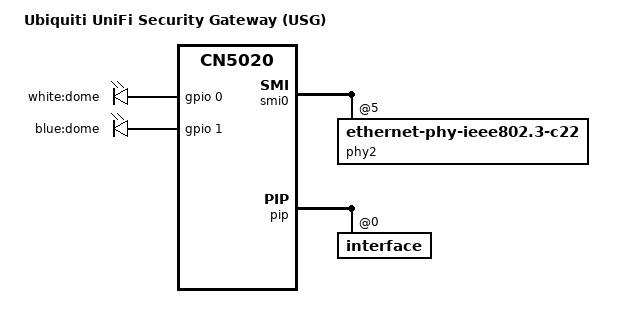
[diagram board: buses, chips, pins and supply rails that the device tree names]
// SPDX-License-Identifier: GPL-2.0-only
/*
 * Device tree source for Ubiquiti UniFi Security Gateway.
 *
 * Written for EdgeRouter Lite by: Aaro Koskinen <aaro.koskinen@iki.fi>
 * Adapted for USG by: Clemens Hopfer <openwrt@wireloss.net>
 */

#include "cn5020_ubnt_e100.dtsi"
#include <dt-bindings/gpio/gpio.h>

/ {
	/* E150 */
	compatible = "ubnt,usg", "ubnt,e100", "cavium,cn5020";
	model = "Ubiquiti UniFi Security Gateway (USG)";

	aliases {
		led-boot = &led_dome_white;
		led-failsafe = &led_dome_blue;
		led-running = &led_dome_blue;
		led-upgrade = &led_dome_blue;
	};

	leds {
		compatible = "gpio-leds";

		led_dome_white: led-0 {
			label = "white:dome";
			gpios = <&gpio 0 GPIO_ACTIVE_HIGH>;
		};

		led_dome_blue: led-1 {
			label = "blue:dome";
			gpios = <&gpio 1 GPIO_ACTIVE_HIGH>;
		};
	};
};

&smi0 {
	phy2: ethernet-phy@5 {
		reg = <5>;
		compatible = "ethernet-phy-ieee802.3-c22";
	};
};

&eth0 {
	label = "eth0";
};

&eth1 {
	label = "eth1";
};

&pip {
	interface@0 {
		eth2: ethernet@2 {
			phy-handle = <&phy2>;
			rx-delay = <0>;
			tx-delay = <0x10>;

			label = "eth2";
			nvmem-cells = <&macaddr_eeprom_0 2>;
			nvmem-cell-names = "mac-address";
		};
	};
};
